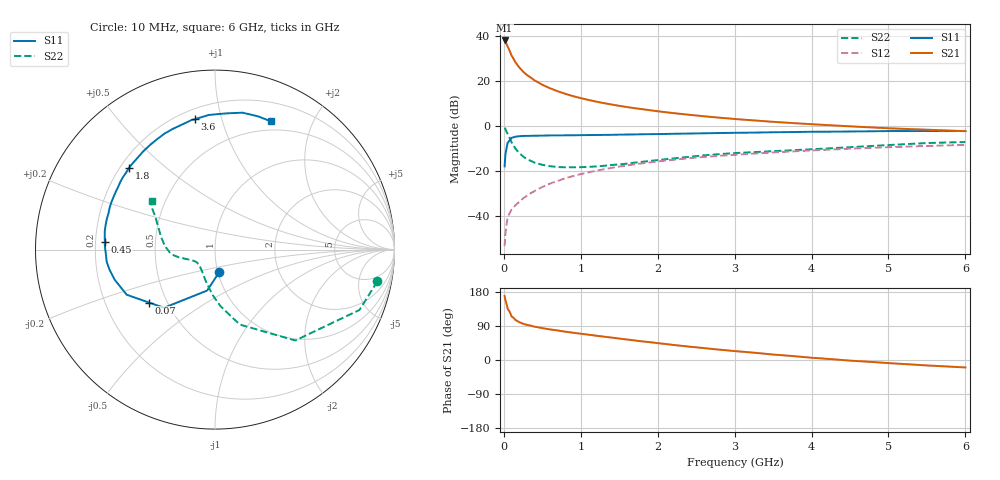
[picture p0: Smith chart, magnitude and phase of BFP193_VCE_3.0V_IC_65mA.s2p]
! (c) 2017  Infineon Technologies AG, Munich
! Infineon Technologies  Discrete & RF Semiconductors
! BFP193
! VCE =  3.0 V,  IC =  65 mA
! Common Emitter S-Parameters:  Jan 2017
# GHz  S  MA  R  50
!  f  S11  S21  S12  S22
! GHz  MAG  ANG  MAG  ANG  MAG  ANG  MAG  ANG
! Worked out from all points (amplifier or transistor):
!   77 points, 10 MHz to 6 GHz, reference 50 ohm
!   highest |S21| = 37.9 dB at 10 MHz (marker M1)
!   |S21| within 3 dB of that: start of sweep to 53.83 MHz
!   unconditionally stable (mu >= 1): 397.1 MHz to 2.362 GHz
!   at 130 MHz: K = 0.71, MSG = 32.7 dB, |S12| = -35.8 dB
!   at 2.2 GHz: K = 1.01, MAG = 9.8 dB, |S12| = -14.9 dB
!   at 6 GHz: K = 0.94, MSG = 3.0 dB, |S12| = -8.3 dB
!   S11 on the Smith chart (normalised r, x): 10 MHz: 1.01, -0.26; 70 MHz: 0.40, -0.30; 450 MHz: 0.24, +0.03; 1.8 GHz: 0.23, +0.38; 3.6 GHz: 0.26, +0.82; 6 GHz: 0.40, +1.46
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0.01  0.1283 -79.6  78.96 168.8  0.0022 86.6  0.9218 -11.1
0.02  0.2321 -100.8  75.78 158.5  0.0041 86.2  0.8723 -22.7
0.05  0.4309 -131.2  57.69 134.8  0.0094 61.7  0.676 -48.5
0.07  0.4709 -141.2  48.72 129.0  0.0113 60.9  0.5715 -55.5
0.1  0.5523 -152.9  36.79 115.1  0.0142 60.2  0.4397 -71.7
0.15  0.5838 -163.4  26.03 105.7  0.0177 62.4  0.3186 -84.2
0.2  0.5979 -169.1  19.99 99.9  0.0211 65.0  0.2537 -93.0
0.25  0.6074 -173.6  16.16 95.7  0.0251 66.1  0.2133 -99.4
0.3  0.6079 -176.8  13.55 92.7  0.0287 67.8  0.1861 -105.4
0.4  0.6138 178.2  10.28 87.8  0.0367 70.0  0.1557 -114.4
0.45  0.6154 176.0  9.252 86.2  0.0408 70.1  0.1472 -117.8
0.6  0.6229 170.4  6.902 80.7  0.0536 70.5  0.1301 -128.4
0.7  0.6247 167.3  5.922 77.9  0.0611 70.8  0.1242 -133.2
0.9  0.6271 161.1  4.614 72.0  0.0784 68.9  0.1232 -140.6
1.1  0.6349 155.5  3.805 66.8  0.0949 67.0  0.1254 -146.7
1.8  0.6613 136.4  2.375 49.1  0.1502 58.5  0.1624 -160.7
2.1  0.6717 128.8  2.041 42.3  0.1723 54.4  0.1848 -165.0
3.1  0.7149 107.6  1.4 21.9  0.238 41.2  0.2582 -178.2
3.6  0.7352 98.9  1.216 12.9  0.2672 35.2  0.2847 174.0
4.1  0.7521 91.1  1.08 4.6  0.2952 29.1  0.314 165.1
5.1  0.7778 77.3  0.884 -9.4  0.3461 17.3  0.3896 149.9
6  0.7797 66.3  0.775 -19.7  0.3856 7.2  0.4455 142.5
